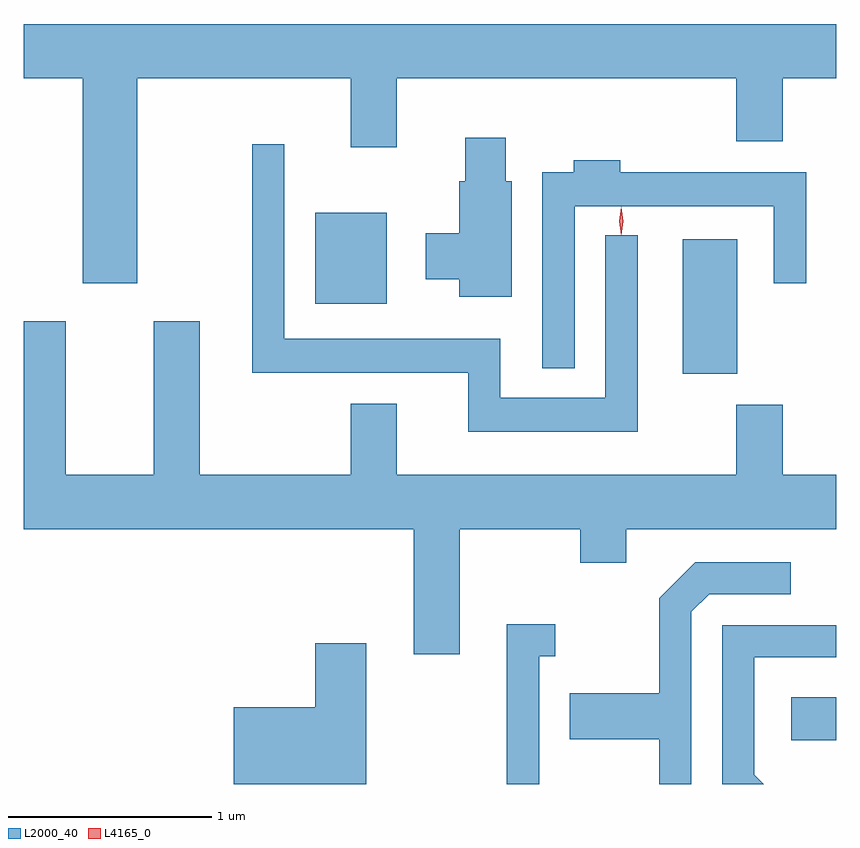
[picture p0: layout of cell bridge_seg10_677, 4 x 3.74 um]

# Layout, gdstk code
import gdstk
lib = gdstk.Library(unit=1e-6, precision=1e-09)
def R(c, l, rs):  # rectangles x0, y0, x1, y1
    for r in rs: c.add(gdstk.rectangle(r[:2], r[2:], *l))
def P(c, l, *ps):  # polygons
    for p in ps: c.add(gdstk.Polygon(p, *l))
L2000_40 = (2000, 40)
L4165_0 = (4165, 0)

bridge_seg10_677 = lib.new_cell('bridge_seg10_677')
R(bridge_seg10_677, L2000_40, [(1041.631,2090.676,1041.852,2090.889), (1041.096,2092.481,1041.364,2093.144), (1039.286,2092.826,1039.639,2093.274)])
P(bridge_seg10_677, L2000_40, [(1038.409,2093.936),(1039.461,2093.936),(1039.461,2093.596),(1039.689,2093.596),(1039.689,2093.936),(1041.361,2093.936),(1041.361,2093.626),(1041.589,2093.626),(1041.589,2093.936),(1041.852,2093.936),(1041.852,2094.204),(1037.852,2094.204),(1037.852,2093.936),(1038.141,2093.936),(1038.141,2092.926),(1038.409,2092.926)],
  [(1040.254,2093.429),(1040.224,2093.429),(1040.224,2093.644),(1040.026,2093.644),(1040.026,2093.429),(1039.996,2093.429),(1039.996,2093.174),(1039.831,2093.174),(1039.831,2092.946),(1039.996,2092.946),(1039.996,2092.861),(1040.254,2092.861)],
  [(1040.874,2093.163),(1040.716,2093.163),(1040.716,2092.364),(1040.199,2092.364),(1040.199,2092.654),(1039.134,2092.654),(1039.134,2093.613),(1038.976,2093.613),(1038.976,2092.486),(1040.041,2092.486),(1040.041,2092.196),(1040.874,2092.196)],
  [(1040.564,2093.306),(1041.546,2093.306),(1041.546,2092.928),(1041.704,2092.928),(1041.704,2093.474),(1040.789,2093.474),(1040.789,2093.534),(1040.561,2093.534),(1040.561,2093.474),(1040.406,2093.474),(1040.406,2092.508),(1040.564,2092.508)],
  [(1039.999,2091.716),(1040.591,2091.716),(1040.591,2091.551),(1040.819,2091.551),(1040.819,2091.716),(1041.852,2091.716),(1041.852,2091.984),(1041.589,2091.984),(1041.589,2092.329),(1041.361,2092.329),(1041.361,2091.984),(1039.689,2091.984),(1039.689,2092.334),(1039.461,2092.334),(1039.461,2091.984),(1038.719,2091.984),(1038.719,2092.739),(1038.491,2092.739),(1038.491,2091.984),(1038.059,2091.984),(1038.059,2092.739),(1037.852,2092.739),(1037.852,2091.716),(1039.771,2091.716),(1039.771,2091.101),(1039.999,2091.101)],
  [(1041.139,2091.309),(1041.227,2091.396),(1041.628,2091.396),(1041.628,2091.554),(1041.159,2091.554),(1040.981,2091.376),(1040.981,2090.909),(1040.541,2090.909),(1040.541,2090.681),(1040.981,2090.681),(1040.981,2090.461),(1041.139,2090.461)],
  [(1040.389,2091.091),(1040.468,2091.091),(1040.468,2091.249),(1040.231,2091.249),(1040.231,2090.461),(1040.389,2090.461)],
  [(1041.449,2090.507),(1041.449,2091.086),(1041.852,2091.086),(1041.852,2091.244),(1041.291,2091.244),(1041.291,2090.461),(1041.495,2090.461)],
  [(1039.539,2091.154),(1039.286,2091.154),(1039.286,2090.839),(1038.886,2090.839),(1038.886,2090.461),(1039.539,2090.461)])
P(bridge_seg10_677, L4165_0, [(1040.794,2093.164),(1040.794,2093.164),(1040.784,2093.233),(1040.794,2093.302),(1040.794,2093.303),(1040.795,2093.302),(1040.804,2093.233),(1040.795,2093.164)])

lib.write_gds('bridge_seg10_677.gds')
